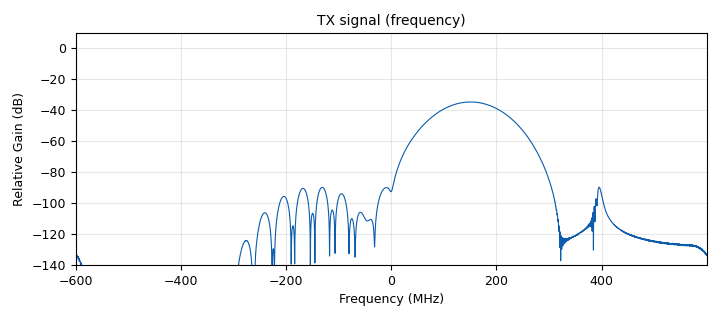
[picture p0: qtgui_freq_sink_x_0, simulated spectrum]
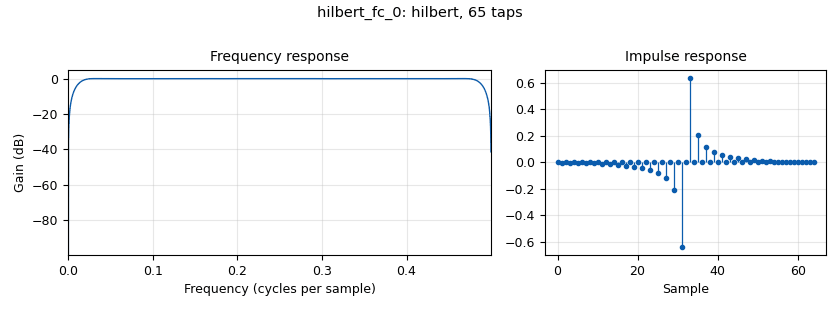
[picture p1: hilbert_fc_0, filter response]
options:
  parameters:
    generate_options: qt_gui
    id: pluto_chirp_radar_sim
    output_language: python
    title: pluto simulation
  states: {}

blocks:
- name: PRF
  id: variable
  parameters:
    value: 1e5
  states: {}
- name: bw
  id: variable
  parameters:
    value: '4'
  states: {}
- name: fft_size
  id: variable
  parameters:
    value: int(8192*8)
  states: {}
- name: input_d
  id: variable_qtgui_range
  parameters:
    label: Delay
    orient: Qt.Horizontal
    start: '0'
    step: '0.1'
    stop: '35'
    value: '10'
  states: {}
- name: samp_rate
  id: variable
  parameters:
    value: 600000000*2
  states: {}
- name: analog_sig_source_x_0
  id: analog_sig_source_x
  parameters:
    amp: '1'
    freq: PRF
    offset: '0'
    phase: '0'
    samp_rate: samp_rate
    type: float
    waveform: analog.GR_SAW_WAVE
  states: {}
- name: blocks_complex_to_real_0
  id: blocks_complex_to_real
  parameters: {}
  states: {}
- name: blocks_complex_to_real_0_0
  id: blocks_complex_to_real
  parameters: {}
  states: {}
- name: blocks_delay_0
  id: blocks_delay
  parameters:
    delay: int(2*input_d*samp_rate/300000000)
    type: complex
  states: {}
- name: blocks_multiply_xx_0
  id: blocks_multiply_xx
  parameters:
    type: float
  states: {}
- name: blocks_stream_to_vector_0
  id: blocks_stream_to_vector
  parameters:
    num_items: fft_size
    type: float
  states: {}
- name: blocks_throttle_0
  id: blocks_throttle
  parameters:
    samples_per_second: samp_rate
    type: float
  states: {}
- name: blocks_vco_f_0
  id: blocks_vco_f
  parameters:
    amplitude: '1'
    samp_rate: samp_rate
    sensitivity: int(bw*628000000)
  states: {}
- name: chirp_radar_max_freq_peak_detector_ff_0
  id: chirp_radar_max_freq_peak_detector_ff
  parameters:
    f_max: '20000000'
    fft_size: fft_size
    sampling_rate: samp_rate
  states: {}
- name: chirp_radar_range_calc_ff_0
  id: chirp_radar_range_calc_ff
  parameters:
    bandwidth: bw*1e8
    chirp_period: 1/PRF
  states: {}
- name: hilbert_fc_0
  id: hilbert_fc
  parameters:
    num_taps: '64'
    win: firdes.WIN_HAMMING
  states: {}
- name: iio_pluto_sink_0_0
  id: iio_pluto_sink
  parameters:
    attenuation1: '10.0'
    auto_filter: 'True'
    bandwidth: '40000000'
    buffer_size: '32768'
    cyclic: 'False'
    frequency: '3000000000'
    samplerate: '2000000'
  states: {}
- name: iio_pluto_source_0_0
  id: iio_pluto_source
  parameters:
    auto_filter: 'True'
    bandwidth: '40000000'
    bbdc: 'True'
    buffer_size: '32768'
    frequency: '3000000000'
    gain1: '''slow_attack'''
    quadrature: 'True'
    rfdc: 'True'
    samplerate: '2000000'
  states: {}
- name: qtgui_freq_sink_x_0
  id: qtgui_freq_sink_x
  parameters:
    bw: samp_rate
    fc: '0'
    fftsize: '10240'
    name: '"TX signal (frequency)"'
    type: complex
    wintype: firdes.WIN_BLACKMAN_hARRIS
  states: {}
- name: qtgui_freq_sink_x_1_0
  id: qtgui_freq_sink_x
  parameters:
    bw: samp_rate
    fc: '0'
    fftsize: '16383'
    name: '"Beat Singal (frequency)"'
    type: float
    wintype: firdes.WIN_BLACKMAN_hARRIS
  states: {}
- name: qtgui_time_sink_x_0
  id: qtgui_time_sink_x
  parameters:
    name: '"Beat Signal (time)"'
    size: '10240'
    srate: samp_rate
    type: float
  states: {}
- name: qtgui_time_sink_x_0_0
  id: qtgui_time_sink_x
  parameters:
    autoscale: 'True'
    grid: 'True'
    name: '"Range"'
    size: '10'
    srate: samp_rate/fft_size
    type: float
    ylabel: Distance
  states: {}

connections:
- [analog_sig_source_x_0, '0', blocks_vco_f_0, '0']
- [blocks_complex_to_real_0, '0', blocks_multiply_xx_0, '0']
- [blocks_complex_to_real_0_0, '0', blocks_multiply_xx_0, '1']
- [blocks_delay_0, '0', blocks_complex_to_real_0_0, '0']
- [blocks_multiply_xx_0, '0', blocks_stream_to_vector_0, '0']
- [blocks_multiply_xx_0, '0', qtgui_freq_sink_x_1_0, '0']
- [blocks_multiply_xx_0, '0', qtgui_time_sink_x_0, '0']
- [blocks_stream_to_vector_0, '0', chirp_radar_max_freq_peak_detector_ff_0, '0']
- [blocks_throttle_0, '0', hilbert_fc_0, '0']
- [blocks_vco_f_0, '0', blocks_throttle_0, '0']
- [chirp_radar_max_freq_peak_detector_ff_0, '0', chirp_radar_range_calc_ff_0, '0']
- [chirp_radar_range_calc_ff_0, '0', qtgui_time_sink_x_0_0, '0']
- [hilbert_fc_0, '0', blocks_complex_to_real_0, '0']
- [hilbert_fc_0, '0', iio_pluto_sink_0_0, '0']
- [hilbert_fc_0, '0', qtgui_freq_sink_x_0, '0']
- [iio_pluto_source_0_0, '0', blocks_delay_0, '0']

metadata:
  file_format: 1
